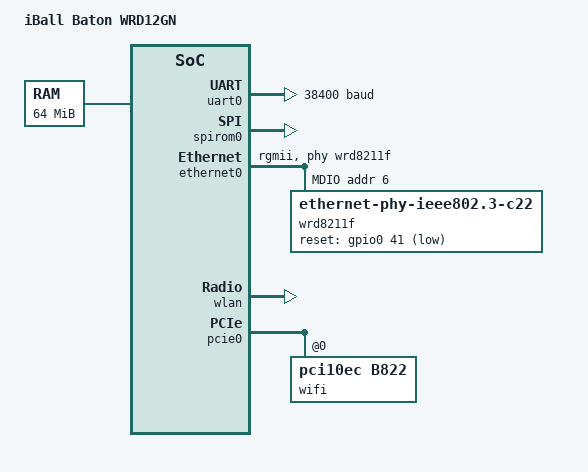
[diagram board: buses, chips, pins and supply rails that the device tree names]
// SPDX-License-Identifier: GPL-2.0-or-later OR MIT
/*
 * iBall Baton WRD12GN
 *
 * Reconstructed from the supplied serial boot log, full flash images and the
 * isolated RTL8197F accelerator sources.  Physical board population is
 * RTL8197FH + RTL8812BRH + RTL8211F, 64 MiB DDR2 and Winbond W25Q64.  The
 * Realtek WLAN SDK intentionally drives the PCI 10ec:b822 radio through its
 * 8822B/HALMAC-compatible code path and reports the integrated WLAN bonding
 * profile as 97FN/PKG2; those vendor software identifiers are retained where
 * required and are not treated as the physical chip marking.
 *
 * The internal rtl865x switch uses OEM VID9 for LAN (P1..P4) and VID8 for WAN
 * (P0/RGMII -> RTL8211F).  Linux exposes those domains as hardware-accelerated
 * VLAN interfaces eth0.9/eth0.8 while firewall4/nf_conntrack remains the sole
 * policy/NAT authority.
 */

#include "rtl8197f.dtsi"

/ {
	compatible = "iball,wrd12gn", "realtek,rtl8197fh", "realtek,rtl8197f-soc";
	model = "iBall Baton WRD12GN";

	aliases {
		serial0 = &uart0;
	};

	chosen {
		bootargs = "console=ttyS0,38400n8 lpj=4000000 rootfstype=squashfs,jffs2 clk_ignore_unused";
		stdout-path = "serial0:38400n8";
	};

	memory@0 {
		device_type = "memory";
		reg = <0x00000000 0x04000000>;
	};
};

&cpu_clk {
	/* Serial boot reports 799.7 MHz. */
	clock-frequency = <800000000>;
};

&uart0 {
	current-speed = <38400>;
	/delete-property/ interrupt-parent;
	/delete-property/ interrupts;
};

&spi0 {
	status = "disabled";
};

&spirom0 {
	status = "okay";
	reg = <0x10000000 0x00800000>, <0x00143000 0x1000>;
	erase-size = <0x1000>;
	realtek,read-shift = <0>;

	partitions {
		compatible = "fixed-partitions";
		#address-cells = <1>;
		#size-cells = <1>;

		partition@0 {
			label = "boot";
			reg = <0x000000 0x020000>;
			read-only;
		};

		wrd_factory_partition: partition@20000 {
			compatible = "nvmem-cells";
			label = "factory";
			reg = <0x020000 0x010000>;
			read-only;
			#address-cells = <1>;
			#size-cells = <1>;

			wrd_factory: factory@0 {
				reg = <0x0000 0x10000>;
			};

			/* H601 board data contains explicit per-interface addresses.
			 * Use direct cells: this image does not use last-octet increments.
			 */
			wrd_mac_lan: mac-address@8 {
				reg = <0x0008 0x0006>;
			};

			wrd_mac_5g: mac-address@e {
				reg = <0x000e 0x0006>;
			};

			wrd_mac_2g: mac-address@14 {
				reg = <0x0014 0x0006>;
			};

			wrd_mac_wan: mac-address@1a {
				reg = <0x001a 0x0006>;
			};
		};

		firmware: partition@30000 {
			label = "firmware";
			reg = <0x030000 0x760000>;
		};

		partition@790000 {
			label = "config";
			reg = <0x790000 0x010000>;
			read-only;
		};

		partition@7a0000 {
			label = "database";
			reg = <0x7a0000 0x060000>;
			read-only;
		};
	};
};

&ethdiag0 {
	status = "disabled";
};

&ethernet0 {
	nvmem-cells = <&wrd_mac_lan>, <&wrd_mac_wan>;
	nvmem-cell-names = "mac-address", "wan-mac-address";

	/* OEM internal-switch topology:
	 *   VID 9: LAN P1..P4 (OEM mask 0x11e; bit8 is vendor WLAN shortcut)
	 *   VID 8: WAN P0/RGMII -> RTL8211F
	 * The driver presents these as VLAN acceleration metadata.
	 */
	realtek,internal-vlan-split;
	realtek,lan-vid = <9>;
	realtek,wan-vid = <8>;
	realtek,lan-port-mask = <0x1e>;
	realtek,wan-port-mask = <0x01>;
	realtek,tx-port-mask = <0x1e>;
	realtek,tx-dp-ext = <0x0>;
	realtek,tx-extspa = <0x0>;
	phy-mode = "rgmii";
	phy-handle = <&wrd8211f>;
	realtek,descriptor-dwords = <6>;
	realtek,rx-ring-size = <128>;
	realtek,tx-ring-size = <128>;
	realtek,new-descriptor-rx;
	realtek,rx-poll-fallback;
	realtek,rx-poll-ms = <10>;
	realtek,sdk-cpuicr1-init;
	realtek,sdk-swcore-init;
	realtek,sdk-crc-lengths;
	realtek,sdk-trxrdy;

	/* Capability bits are deliberately NOT enabled as boot defaults.
	 * Checksum/SG/TSO/QoS remain runtime-testable in the driver, but the first
	 * iBall bring-up uses the same conservative non-coherent-DMA policy that
	 * recovered MW5 stability. HW NAPT is separately gated and can only be
	 * populated by nf_flow_table after firewall/conntrack has accepted a flow.
	 */
	realtek,hw-napt-flowtable-capable;

	/* Device-tree properties must precede child nodes. */
	status = "okay";

	mdio {
		#address-cells = <1>;
		#size-cells = <0>;

		wrd8211f: ethernet-phy@6 {
			reg = <6>;
			compatible = "ethernet-phy-ieee802.3-c22";
			/* Realtek GPL SDK CONFIG_RTL_8197F + RTL_8211F_SUPPORT:
			 * PORT0_RGMII_PHYID=6, non-VG/97FN reset is GPIO F1.
			 */
			reset-gpios = <&gpio0 41 GPIO_ACTIVE_LOW>;
			reset-assert-us = <500000>;
			reset-deassert-us = <300000>;
		};
	};
};

&wlan {
	interrupt-parent = <&intc>;
	interrupts = <29 5>;
	compatible = "realtek,rtl8197f-wlan", "realtek,rtl8197f-wmac";
	realtek,radio-index = <1>;
	realtek,rfe-type = <0>;
	realtek,mac-address-increment = <0>;
	nvmem-cells = <&wrd_factory &wrd_mac_2g &wrd_factory>;
	nvmem-cell-names = "factory", "mac-address", "calibration";
	status = "okay";
};

&pcie0 {
	interrupt-parent = <&intc>;
	interrupts = <21 4>;
	ranges = <0x01000000 0 0x18c00000 0x00c00000 0 0x00200000>,
		 <0x02000000 0 0x19000000 0x01000000 0 0x01000000>;
	status = "okay";

	wifi@0,0 {
		compatible = "pci10ec,b822";
		reg = <0x00000000 0 0 0 0>;
		realtek,radio-index = <0>;
		realtek,rfe-type = <0>;
		realtek,mac-address-increment = <0>;
		nvmem-cells = <&wrd_factory &wrd_mac_5g &wrd_factory>;
		nvmem-cell-names = "factory", "mac-address", "calibration";
	};
};
